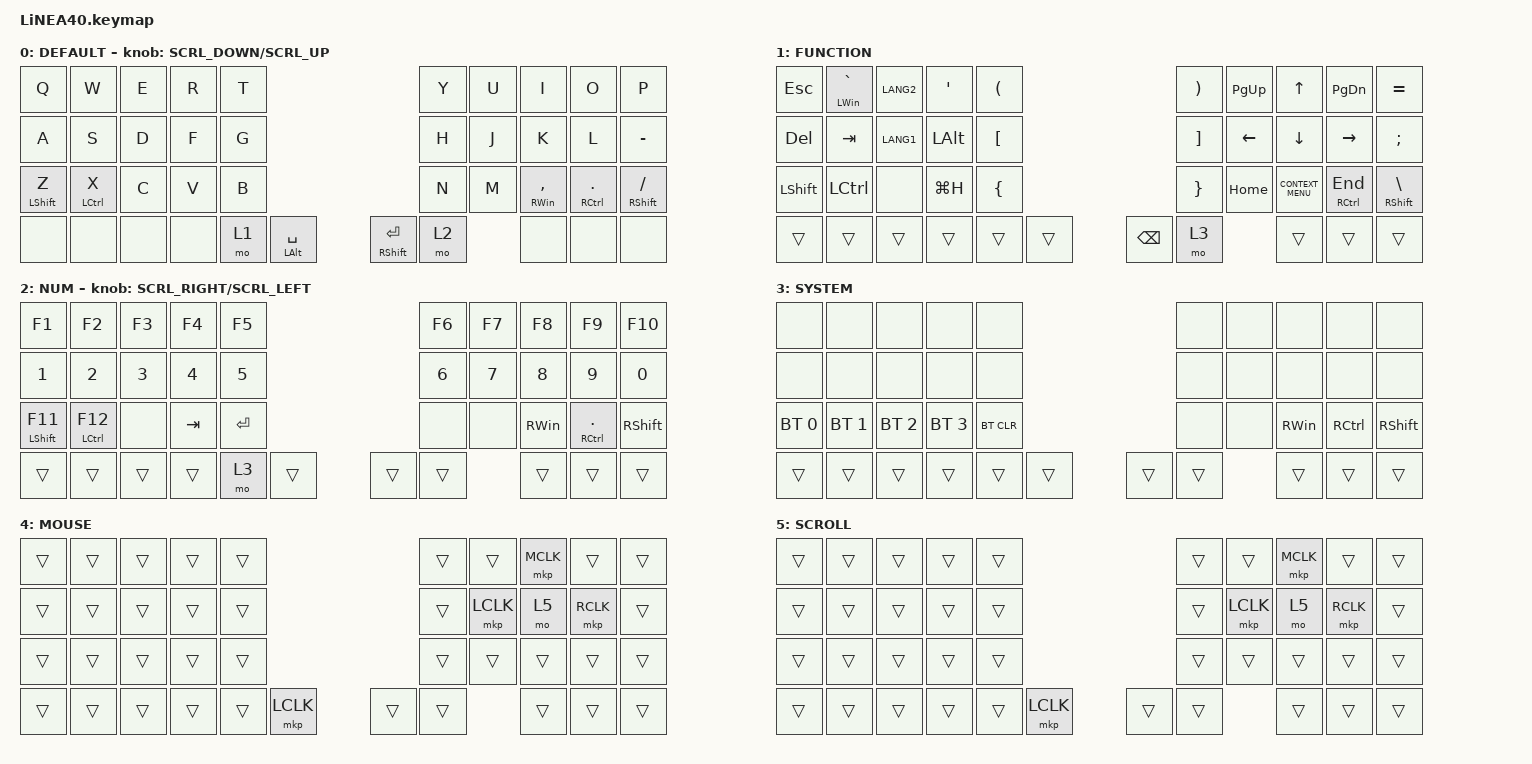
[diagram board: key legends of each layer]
#define ZMK_POINTING_DEFAULT_SCRL_VAL 150

#include <dt-bindings/zmk/input_transform.h>
#include <input/processors.dtsi>
#include <zephyr/dt-bindings/input/input-event-codes.h>
#include <behaviors.dtsi>
#include <dt-bindings/zmk/bt.h>
#include <dt-bindings/zmk/keys.h>
#include <dt-bindings/zmk/pointing.h>

#define DEFAULT  0
#define FUNCTION 1
#define NUM      2
#define SYSTEM   3
#define MOUSE    4
#define SCROLL   5

// tap-hold preference
&mt {
    flavor = "hold-preferred";
    quick-tap-ms = <0>;
    tapping-term-ms = <150>;
};

// mouse cursor
&mmv {
    delay-ms = <20>;
    trigger-period-ms = <5>;
    time-to-max-speed-ms = <100>;
    acceleration-exponent = <2>;
};

// mouse scroll
&msc {
    delay-ms = <3>;
    trigger-period-ms = <3>;
    time-to-max-speed-ms = <100>;
    acceleration-exponent = <0>;
};

/ {
    input_processors {

        /omit-if-no-ref/
        zip_movement_threshold: zip_movement_threshold {
            compatible = "zmk,input-processor-movement-threshold";
            #input-processor-cells = <1>;
        };

        /omit-if-no-ref/
        zip_movement_drop: zip_movement_drop {
            compatible = "zmk,input-processor-movement-drop";
            #input-processor-cells = <0>;
        };

        /omit-if-no-ref/
        zip_temp_layer: zip_temp_layer {
            compatible = "zmk,input-processor-temp-layer";
            #input-processor-cells = <2>;
            require-prior-idle-ms = <300>;
            excluded-positions = <
                7  // I
                16 // J
                17 // K
                18 // L
                35 // SPACE
            >;
        };
    };
};

/* Listener A: HID 専用（移動とスクロールの制御）*/
&trackball_listener {
    input-processors =
        <&zip_xy_transform INPUT_TRANSFORM_Y_INVERT>;
    scroller {
        layers = <SCROLL>;
        input-processors =
            <&zip_xy_to_scroll_mapper>,
            /* スクロール感度: 分母を大きくするほど鈍くなる（トラックボールの
               生カウントを 1/N してホイールtickへ変換。track-remainders により
               端数は蓄積されるので、ゆっくり転がしても取りこぼしは無い）。
               cpi=800 なので 1/10 ではボール 1 インチ = 80 tick と過敏だった。
               1/40 = 20 tick/inch 相当。もっと鈍くしたい場合は 60〜80 へ。 */
            <&zip_scroll_scaler 1 40>;
    };
};
/* Listener B: AML 専用（AMLの制御）*/
&trackball_aml_listener {
    input-processors =
        <&zip_movement_threshold 1>,    /* 閾値以下は STOP → AML 発動しない */
        <&zip_temp_layer MOUSE 300>,    /* 閾値超えのみここに届く → AML 発動 */
        <&zip_movement_drop>;           /* HID 更新をブロック（二重移動防止） */
};

/ {
    combos { compatible = "zmk,combos"; };

    behaviors {
        re_kp: sensor_rotate_kp {
            compatible = "zmk,behavior-sensor-rotate-var";
            #sensor-binding-cells = <2>;
            bindings = <&kp>, <&kp>;
        };

        mouse_scrl: mouse_wheel_scrl {
            compatible = "zmk,behavior-sensor-rotate-var";
            #sensor-binding-cells = <2>;
            bindings = <&msc>, <&msc>;
            tap-ms = <20>;
        };
    };

    keymap {
        compatible = "zmk,keymap";

        DEFAULT {
            bindings = <
&kp Q             &kp W        &kp E  &kp R  &kp T                                               &kp Y  &kp U  &kp I                &kp O             &kp P
&kp A             &kp S        &kp D  &kp F  &kp G                                               &kp H  &kp J  &kp K                &kp L             &kp MINUS
&mt LEFT_SHIFT Z  &mt LCTRL X  &kp C  &kp V  &kp B                                               &kp N  &kp M  &mt RIGHT_WIN COMMA  &mt RCTRL PERIOD  &mt RIGHT_SHIFT SLASH
&none             &none        &none  &none  &mo 1  &mt LEFT_ALT SPACE    &mt RIGHT_SHIFT ENTER  &mo 2         &none                &none             &none
            >;
            sensor-bindings = <&mouse_scrl SCRL_DOWN SCRL_UP>;
        };

        FUNCTION {
            bindings = <
&kp ESC         &mt LEFT_WIN GRAVE  &kp LANG2  &kp SQT       &kp LEFT_PARENTHESIS                           &kp RIGHT_PARENTHESIS  &kp PAGE_UP     &kp UP_ARROW        &kp PAGE_DOWN  &kp EQUAL
&kp DELETE      &kp TAB             &kp LANG1  &kp LEFT_ALT  &kp LEFT_BRACKET                               &kp RIGHT_BRACKET      &kp LEFT_ARROW  &kp DOWN_ARROW      &kp RIGHT      &kp SEMICOLON
&kp LEFT_SHIFT  &kp LCTRL           &none      &kp LG(H)     &kp LEFT_BRACE                                 &kp RIGHT_BRACE        &kp HOME        &kp K_CONTEXT_MENU  &mt RCTRL END  &mt RIGHT_SHIFT BACKSLASH
&trans          &trans              &trans     &trans        &trans                &trans    &kp BACKSPACE  &mo 3                                  &trans              &trans         &trans
            >;
        };

        NUM {
            bindings = <
&kp F1              &kp F2         &kp F3  &kp F4   &kp F5                       &kp F6  &kp F7  &kp F8         &kp F9            &kp F10
&kp N1              &kp N2         &kp N3  &kp N4   &kp N5                       &kp N6  &kp N7  &kp N8         &kp N9            &kp N0
&mt LEFT_SHIFT F11  &mt LCTRL F12  &none   &kp TAB  &kp ENTER                    &none   &none   &kp RIGHT_WIN  &mt RCTRL PERIOD  &kp RIGHT_SHIFT
&trans              &trans         &trans  &trans   &mo 3      &trans    &trans  &trans          &trans         &trans            &trans
            >;
            /* 左手ロータリーエンコーダ: 時計回り=右スクロール / 反時計回り=左スクロール */
            sensor-bindings = <&mouse_scrl SCRL_RIGHT SCRL_LEFT>;
        };

        SYSTEM {
            bindings = <
&none         &none         &none         &none         &none                         &none   &none  &none          &none      &none
&none         &none         &none         &none         &none                         &none   &none  &none          &none      &none
&bt BT_SEL 0  &bt BT_SEL 1  &bt BT_SEL 2  &bt BT_SEL 3  &bt BT_CLR                    &none   &none  &kp RIGHT_WIN  &kp RCTRL  &kp RIGHT_SHIFT
&trans        &trans        &trans        &trans        &trans      &trans    &trans  &trans         &trans         &trans     &trans
            >;
        };

        MOUSE {
            bindings = <
&trans  &trans  &trans  &trans  &trans                       &trans  &trans     &mkp MCLK  &trans     &trans
&trans  &trans  &trans  &trans  &trans                       &trans  &mkp LCLK  &mo 5      &mkp RCLK  &trans
&trans  &trans  &trans  &trans  &trans                       &trans  &trans     &trans     &trans     &trans
&trans  &trans  &trans  &trans  &trans  &mkp LCLK    &trans  &trans             &trans     &trans     &trans
            >;
        };

        SCROLL {
            bindings = <
&trans  &trans  &trans  &trans  &trans                       &trans  &trans     &mkp MCLK  &trans     &trans
&trans  &trans  &trans  &trans  &trans                       &trans  &mkp LCLK  &mo 5      &mkp RCLK  &trans
&trans  &trans  &trans  &trans  &trans                       &trans  &trans     &trans     &trans     &trans
&trans  &trans  &trans  &trans  &trans  &mkp LCLK    &trans  &trans             &trans     &trans     &trans
            >;
        };
    };
};
